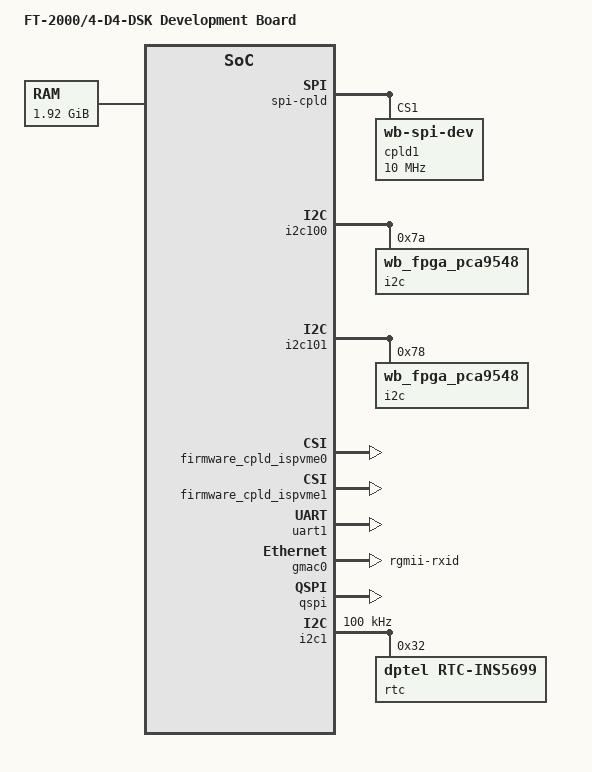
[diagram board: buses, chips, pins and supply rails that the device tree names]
// SPDX-License-Identifier: GPL-2.0
/*
 * DTS file for phytium FT-2000/4 devboard (FT-2000/4-D4-DSK series)
 *
 * Copyright (C) 2018-2019, Phytium Technology Co., Ltd.
 */

/dts-v1/;
/memreserve/ 0x80000000 0x10000;

#include <ft2004v2-generic-psci-soc.dtsi>

/{
    model = "FT-2000/4-D4-DSK Development Board";
    compatible = "phytium,ft2004c";
    #address-cells = <2>;
    #size-cells = <2>;

    chosen {
        stdout-path = "uart1:115200n8";
    };

    memory@00{
        device_type = "memory";
        reg = <0x0 0x80000000 0x0 0x7b000000>;
    };

    soc {
        /* CPU板上的CPLD，通过LPC总线进行访问 */
        cpld0 {
            io_dev_name = "cpld0";
            compatible = "wb-io-dev";
            io_type = /bits/ 8 <0x1>;       /* 0:ioport, 1:iomen */
            io_base = <0x20000000>;
            io_len  = <0x0100>;
        };

        /* CPU板上的CPLD模拟的SPI控制器 */
        spi-cpld {
            compatible = "spi-cpld";
            reg = <0x0 0x20000000 0x0 0x100000>;
            #address-cells = <1>;
            #size-cells = <0>;

            /* CPLD模拟的SPI控制器下挂了3个CPLD，分别为主CPLD、从CPLD、风扇板CPLD，3个CPLD只使用了一个片选，
             * CPLD通过地址来进行区分。作为SPI设备，其在SPI master注册时会被创建出来 */
            cpld1:cpld1 {
                compatible = "wb-spi-dev";
                reg = <0x1>;                         /* 指定spi设备使用的片选信号。即spi->chip_select */
                spi-max-frequency = <10000000>;      /* 指定spi设备工作的最大频率。即spi->max_speed_hz */

                spi_dev_name      = "cpld1";         /* 生成的misc设备的名称 */
                data_bus_width    = <1>;             /* spi设备的数据位宽，单位B */
                addr_bus_width    = <2>;             /* spi设备的地址位宽，单位B。该设备采用cmd(1B) + addr(2B) + data(1-8B)的数据格式 */
                per_rd_len        = <1>;             /* 一次SPI数据传输，最大读取的数据长度。目前是由于spi控制器数据buf最大为8B，但cpld按1B读写，故这里只能配1 */
                per_wr_len        = <1>;             /* 一次SPI数据传输，最大写入的数据长度。目前是由于spi控制器数据buf最大为8B，但cpld按1B读写，故这里只能配1 */
                spi_len           = <0x10000>;
            };
        };

        /* 底板主CPLD上模拟I2C控制器, 映射RAM读写通道  该控制器内部9548下挂8个二级实体PCA9548 0x70-0x77 */
        cpld10 {
            compatible = "wb-indirect-dev";
            /* 1: i2c, 2: file, 3:pcie, 4:io, 5:spi, 8:atomic */
            logic_func_mode     = <5>;
            dev_name            = "cpld10";         /* created dev name */
            logic_dev_name      = "/dev/cpld1";     /* dependent dev name */
            data_bus_width      = <4>;              /* dev data_bus_width */
            addr_bus_width      = <1>;              /* dev addr_bus_width */
            wr_data             = <0x20b0>;         /* dependent dev wr date reg */
            wr_data_width       = <4>;              /* dependent dev wr_data_width */
            addr_low            = <0x20b4>;         /* dependent dev w/r addr reg low */
            addr_high           = <0x20b5>;         /* dependent dev w/r addr reg high */
            rd_data             = <0x20b6>;         /* dependent dev rd date reg */
            rd_data_width       = <4>;              /* dependent dev rd_data_width */
            opt_ctl             = <0x20ba>;
            indirect_len        = <0x200>;
            lock_mode           = <2>;
        };

        /* 底板从CPLD上模拟I2C控制器, 映射RAM读写通道  该控制器内部9548下挂4个风扇E2 */
        cpld11 {
            compatible = "wb-indirect-dev";
            /* 1: i2c, 2: file, 3:pcie, 4:io, 5:spi, 8:atomic */
            logic_func_mode     = <5>;
            dev_name            = "cpld11";         /* created dev name */
            logic_dev_name      = "/dev/cpld1";     /* dependent dev name */
            data_bus_width      = <4>;              /* dev data_bus_width */
            addr_bus_width      = <1>;              /* dev addr_bus_width */
            wr_data             = <0x40b0>;         /* dependent dev wr date reg */
            wr_data_width       = <4>;              /* dependent dev wr_data_width */
            addr_low            = <0x40b4>;         /* dependent dev w/r addr reg low */
            addr_high           = <0x40b5>;         /* dependent dev w/r addr reg high */
            rd_data             = <0x40b6>;         /* dependent dev rd date reg */
            rd_data_width       = <4>;              /* dependent dev rd_data_width */
            opt_ctl             = <0x40ba>;
            indirect_len        = <0x200>;
            lock_mode           = <2>;
        };

        i2c100: main-cpld-i2c0 {
            #address-cells = <1>;
            #size-cells = <0>;
            compatible = "wb-fpga-i2c";
            i2c_timeout             = <3000>;
            i2c_scale               = <0x00>;
            i2c_filter              = <0x04>;
            i2c_stretch             = <0x08>;
            i2c_slave               = <0x1c>;
            i2c_reg                 = <0x20>;
            i2c_reg_len             = <0x30>;
            i2c_data_len            = <0x34>;
            i2c_ctrl                = <0x38>;
            i2c_status              = <0x3c>;
            i2c_data_buf            = <0x100>;
            i2c_data_buf_len        = <256>;
            dev_name                = "/dev/cpld10";
            i2c_scale_value         = <0x4e>;
            i2c_filter_value        = <0x7c>;
            i2c_stretch_value       = <0x7c>;
            i2c_func_mode           = <2>;          /* 1:i2c, 2:file 3:spi */
            i2c_adap_reset_flag     = <1>;          /* 1:复位, 0:不复位 */
            i2c_reset_addr          = <0x7c>;
            i2c_reset_on            = <0x00000001>;
            i2c_reset_off           = <0x00000000>;
            i2c_reset_mask          = <0x00000001>;
            i2c_rst_delay_b         = <0>;          /* delay time before reset(us) */
            i2c_rst_delay           = <1>;          /* reset time(us) */
            i2c_rst_delay_a         = <1>;          /* delay time after reset(us) */
            i2c_ext_9548_exits_flag = <0x0c>;
            i2c_ext_9548_addr       = <0x10>;
            i2c_ext_9548_chan       = <0x14>;
            i2c_in_9548_chan        = <0x18>;

            /* 控制器内部9548 每个通道都各挂了1个PCA9548 */
            i2c@7a {
                #address-cells = <1>;
                #size-cells = <0>;
                compatible = "wb_fpga_pca9548";
                reg                     = <0x7a>;
                pca9548_base_nr         = <102>;
                fpga_9548_flag          = <1>;  /* 1:内部9548, 2:外部9548 */
                fpga_9548_reset_flag    = <0>;  /* 1:复位, 0:不复位*/
                

                mux-0@0{
                    #address-cells = <1>;
                    #size-cells = <0>;
                    reg = <0>;

                    /* PCA9548 0x70 BUS 2-9, 面板口1-8 */
                    cpld_ext_pca9548@70 {
                        #address-cells = <1>;
                        #size-cells = <0>;
                        compatible = "wb_fpga_pca9548";
                        reg                     = <0x70>;  
                        pca9548_base_nr         = <2>;
                        fpga_9548_flag          = <2>;  /* 1:内部9548, 2:外部9548 */
                        fpga_9548_reset_flag    = <1>;  /* 0:不复位 1:硬件自动复位 2:软件写寄存器复位 */
                    };
                };

                mux-1@1{
                    #address-cells = <1>;
                    #size-cells = <0>;
                    reg = <1>;

                    /* PCA9548 0x71 BUS 10-17, 面板口9-16 */
                    cpld_ext_pca9548@71 {
                        #address-cells = <1>;
                        #size-cells = <0>;
                        compatible = "wb_fpga_pca9548";
                        reg                     = <0x71>;  
                        pca9548_base_nr         = <10>;
                        fpga_9548_flag          = <2>;  /* 1:内部9548, 2:外部9548 */
                        fpga_9548_reset_flag    = <1>;  /* 0:不复位 1:硬件自动复位 2:软件写寄存器复位 */
                    };
                };

                mux-2@2{
                    #address-cells = <1>;
                    #size-cells = <0>;
                    reg = <2>;

                    /* PCA9548 0x72 BUS 18-25, 面板口17-24 */
                    cpld_ext_pca9548@72 {
                        #address-cells = <1>;
                        #size-cells = <0>;
                        compatible = "wb_fpga_pca9548";
                        reg                     = <0x72>;  
                        pca9548_base_nr         = <18>;
                        fpga_9548_flag          = <2>;  /* 1:内部9548, 2:外部9548 */
                        fpga_9548_reset_flag    = <1>;  /* 0:不复位 1:硬件自动复位 2:软件写寄存器复位 */
                    };
                };

                mux-3@3{
                    #address-cells = <1>;
                    #size-cells = <0>;
                    reg = <3>;

                    /* PCA9548 0x73 BUS 26-33, 面板口25-32 */
                    cpld_ext_pca9548@73 {
                        #address-cells = <1>;
                        #size-cells = <0>;
                        compatible = "wb_fpga_pca9548";
                        reg                     = <0x73>;  
                        pca9548_base_nr         = <26>;
                        fpga_9548_flag          = <2>;  /* 1:内部9548, 2:外部9548 */
                        fpga_9548_reset_flag    = <1>;  /* 0:不复位 1:硬件自动复位 2:软件写寄存器复位 */
                    };
                };

                mux-4@4{
                    #address-cells = <1>;
                    #size-cells = <0>;
                    reg = <4>;

                    /* PCA9548 0x74 BUS 34-41, 面板口25-32 */
                    cpld_ext_pca9548@74 {
                        #address-cells = <1>;
                        #size-cells = <0>;
                        compatible = "wb_fpga_pca9548";
                        reg                     = <0x74>;  
                        pca9548_base_nr         = <34>;
                        fpga_9548_flag          = <2>;  /* 1:内部9548, 2:外部9548 */
                        fpga_9548_reset_flag    = <1>;  /* 0:不复位 1:硬件自动复位 2:软件写寄存器复位 */
                    };
                };

                mux-5@5{
                    #address-cells = <1>;
                    #size-cells = <0>;
                    reg = <5>;

                    /* PCA9548 0x75 BUS 42-49, 面板口33-40 */
                    cpld_ext_pca9548@75 {
                        #address-cells = <1>;
                        #size-cells = <0>;
                        compatible = "wb_fpga_pca9548";
                        reg                     = <0x75>;  
                        pca9548_base_nr         = <42>;
                        fpga_9548_flag          = <2>;  /* 1:内部9548, 2:外部9548 */
                        fpga_9548_reset_flag    = <1>;  /* 0:不复位 1:硬件自动复位 2:软件写寄存器复位 */
                    };
                };

                mux-6@6{
                    #address-cells = <1>;
                    #size-cells = <0>;
                    reg = <6>;

                    /* PCA9548 0x76 BUS 50-57, 面板口41-48 */
                    cpld_ext_pca9548@76 {
                        #address-cells = <1>;
                        #size-cells = <0>;
                        compatible = "wb_fpga_pca9548";
                        reg                     = <0x76>;  
                        pca9548_base_nr         = <50>;
                        fpga_9548_flag          = <2>;  /* 1:内部9548, 2:外部9548 */
                        fpga_9548_reset_flag    = <1>;  /* 0:不复位 1:硬件自动复位 2:软件写寄存器复位 */
                    };
                };

                mux-7@7{
                    #address-cells = <1>;
                    #size-cells = <0>;
                    reg = <7>;

                    /* PCA9548 0x77 BUS 58-65, 100G面板口1-8 */
                    cpld_ext_pca9548@77 {
                        #address-cells = <1>;
                        #size-cells = <0>;
                        compatible = "wb_fpga_pca9548";
                        reg                     = <0x77>;  
                        pca9548_base_nr         = <58>;
                        fpga_9548_flag          = <2>;  /* 1:内部9548, 2:外部9548 */
                        fpga_9548_reset_flag    = <1>;  /* 0:不复位 1:硬件自动复位 2:软件写寄存器复位 */
                    };
                };
            };
        };

        i2c101: second-cpld-i2c0 {
            #address-cells = <1>;
            #size-cells = <0>;
            compatible = "wb-fpga-i2c";
            i2c_timeout             = <3000>;
            i2c_scale               = <0x00>;
            i2c_filter              = <0x04>;
            i2c_stretch             = <0x08>;
            i2c_slave               = <0x1c>;
            i2c_reg                 = <0x20>;
            i2c_reg_len             = <0x30>;
            i2c_data_len            = <0x34>;
            i2c_ctrl                = <0x38>;
            i2c_status              = <0x3c>;
            i2c_data_buf            = <0x100>;
            i2c_data_buf_len        = <256>;
            dev_name                = "/dev/cpld11";
            i2c_scale_value         = <0x4e>;
            i2c_filter_value        = <0x7c>;
            i2c_stretch_value       = <0x7c>;
            i2c_func_mode           = <2>;          /* 1:i2c, 2:file 3:spi */
            i2c_adap_reset_flag     = <1>;          /* 1:复位, 0:不复位 */
            i2c_reset_addr          = <0x7c>;
            i2c_reset_on            = <0x00000001>;
            i2c_reset_off           = <0x00000000>;
            i2c_reset_mask          = <0x00000001>;
            i2c_rst_delay_b         = <0>;          /* delay time before reset(us) */
            i2c_rst_delay           = <1>;          /* reset time(us) */
            i2c_rst_delay_a         = <1>;          /* delay time after reset(us) */
            i2c_ext_9548_exits_flag = <0x0c>;
            i2c_ext_9548_addr       = <0x10>;
            i2c_ext_9548_chan       = <0x14>;
            i2c_in_9548_chan        = <0x18>;

            /* 控制器内部9548 BUS 66-73, 风扇板1-4的EEPROM */
            i2c@78 {
                #address-cells = <1>;
                #size-cells = <0>;
                compatible = "wb_fpga_pca9548";
                reg = <0x78>;
                pca9548_base_nr          = <66>;
                fpga_9548_flag           = <1>;  /* 1:内部9548, 2:外部9548 */
                fpga_9548_reset_flag     = <0>;  /* 1:复位, 0:不复位*/
            };
        };

        /* 用于固件升级前，初始化GPIO的到一个默认的状态，以防止GPIO模拟的JTAG信号抖动，出现不可预知的问题 */
        gpio_init {
            compatible  = "gpio_init";
            gpioport@0 {                            /* 该设备节点包含的gpio信息，具体表示方式如下 */
                gpio            = <491>;             /* GPIO的编号 */
                init_direction  = <0>;              /* GPIO的配置方向。0：输出；1：输入 */
                init_level      = <1>;	            /* GPIO的输出电平。0：输出低电平；1：输出高电平 */
            };
            gpioport@1 {                            /* 该设备节点包含的gpio信息，具体表示方式如下 */
                gpio            = <494>;                     /* GPIO的编号 */
                init_direction  = <0>;              /* GPIO的配置方向。0：输出；1：输入 */
                init_level      = <0>;              /* GPIO的输出电平。0：输出低电平；1：输出高电平 */
            };
            gpioport@2 {                            /* 该设备节点包含的gpio信息，具体表示方式如下 */
                gpio            = <493>;              /* GPIO的编号 */
                init_direction  = <0>;              /* GPIO的配置方向。0：输出；1：输入 */
                init_level      = <1>;              /* GPIO的输出电平。0：输出低电平；1：输出高电平 */
            };
            gpioport@3 {                            /* 该设备节点包含的gpio信息，具体表示方式如下 */
                gpio            = <492>;             /* GPIO的编号 */
                init_direction  = <1>;              /* GPIO的配置方向。0：输出；1：输入 */
                init_level      = <0>;              /* GPIO的输出电平。0：输出低电平；1：输出高电平 */
            };
            gpioport@4 {                            /* 该设备节点包含的gpio信息，具体表示方式如下 */
                gpio            = <490>;             /* GPIO的编号 */
                init_direction  = <0>;              /* GPIO的配置方向。0：输出；1：输入 */
                init_level      = <0>;              /* GPIO的输出电平。0：输出低电平；1：输出高电平 */
            };
            gpioport@5 {                            /* 该设备节点包含的gpio信息，具体表示方式如下 */
                gpio            = <489>;             /* GPIO的编号 */
                init_direction  = <0>;              /* GPIO的配置方向。0：输出；1：输入 */
                init_level      = <1>;              /* GPIO的输出电平。0：输出低电平；1：输出高电平 */
            };
        };

        /* 用于固件升级CPU板上的CPLD */
        firmware_cpld_ispvme0 {
            compatible  = "firmware_cpld_ispvme";
            type        = "JTAG";
            tdi         = <491>;
            tck         = <494>;
            tms         = <493>;
            tdo         = <492>;
            chain       = <1>;
            chip_index  = <1>;
            en_gpio_0   = <490>;     /* ONLINE_JTAG_EN  GPIO1_B2  使能在线升级，需要配置为低电平0 */
            en_level_0  = <0>;      /* 默认配置为0，为0可不配 */
            en_gpio_1   = <489>;     /* JTAG_SEL_1  GPIO1_B1  选择升级哪条链路的CPLD：低电平0 -- 选择升级CPU板的CPLD, 高电平1 -- 选择升级底板的CPLD */
            en_level_1  = <0>;      /* 默认配置为0，为0可不配 */

            /* JTAG_EN enable/disable */
            en_logic_dev_0     = "/dev/cpld0";   /* 通过什么设备文件，来配置链路使能 */
            en_logic_addr_0    = <0xe8>;         /* 链路使能的寄存器地址 */
            en_logic_mask_0    = <0xfe>;         /* 寄存器值的掩码 */
            en_logic_en_val_0  = <0x01>;         /* 链路使能时，寄存器的配置值 */
            en_logic_dis_val_0 = <0x00>;         /* 链路失能时，寄存器的配置值 */
            en_logic_width_0   = <0x01>;         /* 逻辑设备的位宽： 1 --- 8bit、2 --- 16bit、4 --- 32bit */
        };

        /* 用于固件升级底板上的主从CPLD，即基地址分别为0x2000、0x4000的CPLD */
        firmware_cpld_ispvme1 {
            compatible  = "firmware_cpld_ispvme";
            type        = "JTAG";
            tdi         = <491>;
            tck         = <494>;
            tms         = <493>;
            tdo         = <492>;
            chain       = <2>;
            chip_index  = <1>;
            en_gpio_0   = <490>;
            en_level_0  = <0>;
            en_gpio_1   = <489>;
            en_level_1  = <1>;

            /* JTAG_EN enable/disable */
            en_logic_dev_0     = "/dev/cpld0";   /* 通过什么设备文件，来配置链路使能 */
            en_logic_addr_0    = <0xe8>;         /* 链路使能的寄存器地址 */
            en_logic_mask_0    = <0xfe>;         /* 寄存器值的掩码 */
            en_logic_en_val_0  = <0x01>;         /* 链路使能时，寄存器的配置值 */
            en_logic_dis_val_0 = <0x00>;         /* 链路失能时，寄存器的配置值 */
            en_logic_width_0   = <0x01>;         /* 逻辑设备的位宽： 1 --- 8bit、2 --- 16bit、4 --- 32bit */
        };

        /* 用于升级U-BOOT */
        firmware_sysfs0 {
            compatible  = "firmware_sysfs";
            type        = "MTD_DEV";
            chain       = <1>;
            chip_index  = <1>;
            mtd_name    = "mtd0";  /* mtd设备的名称 */  
            flash_base  = <0>;       /* flash基地址，固件将更新到这个位置，固件占据的空间大小为固件文件的大小（按flash块对齐） */
        };
        
        wdt {
            compatible = "wb_wdt";
            config_dev_name = "/dev/cpld1";
            feed_dev_name = "/dev/cpld1";
            hw_algo = "eigenvalues";
            config_mode = /bits/ 8 <2>;     /* logic feed wdt mode */
            priv_func_mode = /bits/ 8 <8>; /* spi atomic mode */
            logic_func_mode = /bits/ 8 <8>; /* spi atomic mode */
            feed_reg = <0x20f2>;
            active_val = /bits/ 8 <0x01>;
            enable_val = /bits/ 8 <0x01>;
            disable_val = /bits/ 8 <0x01>;  /* 不希望在卸载的时候，关闭 */
            enable_mask = /bits/ 8 <0xff>;
            enable_reg = <0x20f0>;
            /* 设置到超时寄存器的值是 hw_margin_ms / timer_accuracy */
            timeout_cfg_reg = <0x20f1>;     /* 超时时间寄存器 */
            hw_margin_ms = <5000>;          /* 超时时间 5000ms */
            timer_accuracy = <1000>;        /* 精度:秒 */
            feed_wdt_type = /bits/ 8 <1>;   /* hrtime type */
            feed_time = <500>;              /* ms */
        };

        /* 新增1个DTS节点，用来配置PHY的LED寄存器，用于mgmt点灯 */
        yt8531s-phy-led@0 {
            led0_cfg = <0x0670>;            /* LED0_CFG寄存器的值 */
            led1_cfg = <0x0670>;            /* LED1_CFG寄存器的值 */
            led2_cfg = <0x0070>;            /* LED2_CFG寄存器的值 */
        };
    };

    aliases {
        i2c0 = &i2c1;
        i2c110 = &i2c100;
        i2c111 = &i2c101;
    };
};

&gpio0 {
    status = "ok";
};

&gpio1 {
    status = "ok";
};

&uart1 {
    status = "ok";
};

&gmac0 {
    status = "ok";
    phy-mode = "rgmii-rxid";
};

&qspi {
    status = "ok";
};

&i2c1 {
    clock-frequency = <100000>;
    
    /* sda保持时间配置，保证I2C外设不会因为SDA的保持时间不够而报I2C TX abort：lost arbitrary的错误 */
    i2c-sda-hold-time-ns = <100>;

    /* 只有status = "ok" or "okay"的I2C设备节点才会被创建出平台设备 */
    status = "ok";
    
    #address-cells = <1>;
    #size-cells = <0>;

    rtc@32 {
        compatible = "dptel,rtc-ins5699";
        reg = <0x32>;
    };
};

